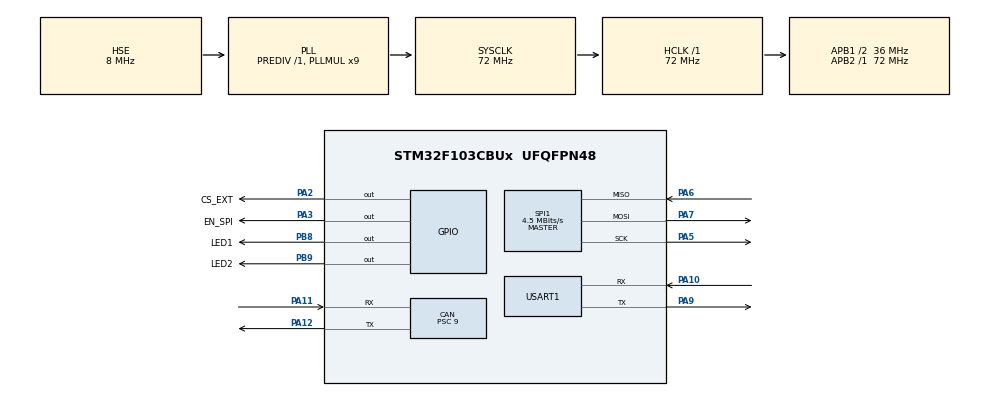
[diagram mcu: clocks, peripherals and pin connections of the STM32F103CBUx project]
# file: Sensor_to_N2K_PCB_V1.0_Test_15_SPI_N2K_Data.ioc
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CAN.BS1=CAN_BS1_12TQ
CAN.BS2=CAN_BS2_3TQ
CAN.CalculateBaudRate=250000
CAN.CalculateTimeBit=4000
CAN.CalculateTimeQuantum=250.0
CAN.Prescaler=9
Mcu.Family=STM32F1
Mcu.Name=STM32F103CBUx
Mcu.Package=UFQFPN48
NVIC.PriorityGroup=NVIC_PRIORITYGROUP_4
NVIC.USB_HP_CAN1_TX_IRQn=true\:0\:0\:false\:false\:true\:true\:true\:true
NVIC.USB_LP_CAN1_RX0_IRQn=true\:0\:0\:false\:false\:true\:true\:true\:true
PA10.Mode=Asynchronous
PA10.Signal=USART1_RX
PA11.Mode=CAN_Activate
PA11.Signal=CAN_RX
PA12.Mode=CAN_Activate
PA12.Signal=CAN_TX
PA13.Mode=Serial_Wire
PA13.Signal=SYS_JTMS-SWDIO
PA14.Mode=Serial_Wire
PA14.Signal=SYS_JTCK-SWCLK
PA2.GPIO_Label=CS_EXT
PA2.Signal=GPIO_Output
PA3.GPIO_Label=EN_SPI
PA3.Signal=GPIO_Output
PA5.Mode=Full_Duplex_Master
PA5.Signal=SPI1_SCK
PA6.Mode=Full_Duplex_Master
PA6.Signal=SPI1_MISO
PA7.Mode=Full_Duplex_Master
PA7.Signal=SPI1_MOSI
PA9.Mode=Asynchronous
PA9.Signal=USART1_TX
PB8.GPIO_Label=LED1
PB8.Signal=GPIO_Output
PB9.GPIO_Label=LED2
PB9.Signal=GPIO_Output
PD0-OSC_IN.Mode=HSE-External-Clock-Source
PD0-OSC_IN.Signal=RCC_OSC_IN
PD1-OSC_OUT.Mode=HSE-External-Clock-Source
PD1-OSC_OUT.Signal=RCC_OSC_OUT
ProjectManager.HeapSize=0x200
ProjectManager.StackSize=0x400
ProjectManager.TargetToolchain=CMake
RCC.AHBFreq_Value=72000000
RCC.APB1CLKDivider=RCC_HCLK_DIV2
RCC.APB1Freq_Value=36000000
RCC.APB1TimFreq_Value=72000000
RCC.APB2Freq_Value=72000000
RCC.APB2TimFreq_Value=72000000
RCC.HCLKFreq_Value=72000000
RCC.PLLMUL=RCC_PLL_MUL9
RCC.PLLSourceVirtual=RCC_PLLSOURCE_HSE
RCC.SYSCLKFreq_VALUE=72000000
RCC.SYSCLKSource=RCC_SYSCLKSOURCE_PLLCLK
RCC.USBFreq_Value=72000000
SPI1.BaudRatePrescaler=SPI_BAUDRATEPRESCALER_16
SPI1.CalculateBaudRate=4.5 MBits/s
SPI1.Direction=SPI_DIRECTION_2LINES
SPI1.Mode=SPI_MODE_MASTER
SPI1.VirtualType=VM_MASTER
USART1.VirtualMode=VM_ASYNC
board=custom

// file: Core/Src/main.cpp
/* USER CODE BEGIN Header */
/**
  ******************************************************************************
  * @file           : main.cpp
  * @brief          : Main program body
  ******************************************************************************
  * @attention
  *
  * Copyright (c) 2026 STMicroelectronics.
  * All rights reserved.
  *
  * This software is licensed under terms that can be found in the LICENSE file
  * in the root directory of this software component.
  * If no LICENSE file comes with this software, it is provided AS-IS.
  *
  ******************************************************************************
  */
/* USER CODE END Header */

#include "main.h"
#include "can.h"
#include "spi.h"
#include "usart.h"
#include "gpio.h"

/* USER CODE BEGIN Includes */
#include "n2k_raw_bridge.h"
#include "devicelist_handler.h"
#include <stdio.h>
#include <string.h>
/* USER CODE END Includes */

/* USER CODE BEGIN PD */

/* Power saving: silence the per-PGN identity trace (ADDR_CLAIM /
 * ISO_REQUEST) and the periodic [STATS] heartbeat printed every 5 s.
 * Boot banner + N2K/SPI init lines are kept so a USB-TTL probe still
 * confirms the bridge came up. Set to 0 to get the chatty traces back
 * for diagnostics.  USART1 transmits at 115200 baud — every printed
 * line wakes the MCU (via TX-empty IRQ) and burns a few mA-ms. */
#define BRIDGE_QUIET_DEBUG 1

/* Power saving: enter WFI at the bottom of the main loop. CAN RX, SPI,
 * USART and SysTick (1 kHz) all wake the MCU promptly so loop latency
 * is unchanged.  Disable only when chasing real-time bugs that need the
 * loop to spin freely. */
#define BRIDGE_USE_WFI 1

/* Power saving: keep both debug LEDs (LED1=PB8, LED2=PB9) dark.  On this
 * PCB the LEDs are wired active-HIGH (MCU pin -> 330R -> LED anode ->
 * GND), so PIN_RESET = OFF.  The bridge module (n2k_raw_bridge.c)
 * toggles LED1 on every CAN RX and LED2 on every SPI TX, so without
 * this guard they are essentially always lit on a live N2K bus.
 * Each LED draws ~10 mA continuous when on.  The macro is defined
 * in main.h so n2k_raw_bridge.c can see it too.  Set to 0 in main.h
 * to re-enable LED activity for diagnostics. */
#define BRIDGE_DISABLE_LEDS 1

/* USER CODE END PD */

void SystemClock_Config(void);

/* USER CODE BEGIN 0 */
static void bridge_uart_print(const char *msg) {
  HAL_UART_Transmit(&huart1, (uint8_t *)msg, (uint16_t)strlen(msg), 100u);
}

/* ── UART trace for identity PGNs only ─────────────────────────────────
 * Logs ISO Request (59904) and Address Claim (60928) lines.
 * Telemetry PGNs (WIND, POS, COG_SOG, TEMP, ...) are intentionally NOT
 * decoded here \u2014 the 5-second [STATS] heartbeat in the main loop
 * confirms bus health without flooding UART, and the Flutter app is
 * the canonical telemetry decoder.
 *
 * If you need on-target per-PGN debug for a new sensor, wrap a decoder
 * in a per-PGN rate-limiter (mirroring the s_prop_count pattern that
 * used to live here for PGN 126720) so it never floods at full sensor
 * rate. Don't reintroduce always-on decoders. */
static void bridge_log_n2k_rx_event(const N2K_RawBridgeRxEvent_t *event) {
#if BRIDGE_QUIET_DEBUG
  (void)event;
  return;
#else
  if ((event->pgn != 60928u) &&  /* AddressClaim */
      (event->pgn != 59904u)) {  /* ISO Request  */
    return;
  }

  char line[180];
  const uint8_t *d  = event->data;
  uint8_t        dlc = event->dlc;
  unsigned       src = (unsigned)event->src;
  unsigned       dst = (unsigned)event->dst;

  if (event->pgn == 60928u) {
    /* PGN 60928 \u2014 Address Claim (8 bytes = NMEA2000 NAME, little-endian). */
    if (dlc < 8u) {
      return;
    }
    uint64_t name64 = 0u;
    for (uint8_t i = 0u; i < 8u; i++) {
      name64 |= ((uint64_t)d[i]) << (8u * i);
    }
    uint16_t mfg = (uint16_t)((name64 >> 21u) & 0x7FFu);
    uint8_t  fn  = (uint8_t)((name64 >> 40u) & 0xFFu);
    uint8_t  cls = (uint8_t)(((name64 >> 48u) & 0xFFu) >> 1u);
    (void)snprintf(line, sizeof(line),
      "ADDR_CLAIM  src=%2u  mfg=%u  class=%u  fn=%u  "
      "name=%02X%02X%02X%02X%02X%02X%02X%02X\r\n",
      src, (unsigned)mfg, (unsigned)cls, (unsigned)fn,
      d[7], d[6], d[5], d[4], d[3], d[2], d[1], d[0]);
  } else {
    /* PGN 59904 \u2014 ISO Request: 3-byte requested-PGN payload. */
    uint32_t req_pgn = 0u;
    if (dlc >= 3u) {
      req_pgn = (uint32_t)d[0] | ((uint32_t)d[1] << 8u) | ((uint32_t)d[2] << 16u);
    }
    (void)snprintf(line, sizeof(line),
      "ISO_REQUEST src=%2u dst=%3u req_pgn=%lu\r\n",
      src, dst, (unsigned long)req_pgn);
  }

  bridge_uart_print(line);
#endif /* BRIDGE_QUIET_DEBUG */
}

/* USER CODE END 0 */

int main(void)
{

  /* MCU Configuration--------------------------------------------------------*/

  /* Reset of all peripherals, Initializes the Flash interface and the Systick. */
  HAL_Init();

  /* Configure the system clock */
  SystemClock_Config();

  /* Initialize all configured peripherals */
  MX_GPIO_Init();
  MX_CAN_Init();
  MX_SPI1_Init();
  MX_USART1_UART_Init();
  /* USER CODE BEGIN 2 */

#if BRIDGE_DISABLE_LEDS
  /* Belt-and-braces: the LEDs are active-HIGH on this board and gpio.c
   * already inits them LOW, but force them off here so any future code
   * that left them HIGH (e.g. via a bootloader handoff) is corrected
   * before main loop starts. */
  HAL_GPIO_WritePin(LED1_GPIO_Port, LED1_Pin, GPIO_PIN_RESET);
  HAL_GPIO_WritePin(LED2_GPIO_Port, LED2_Pin, GPIO_PIN_RESET);
#endif

  bridge_uart_print("N2K bridge boot\r\n");

  N2K_RawBridge_Init(&hcan, &hspi1);
  bridge_uart_print("N2K bridge init ok\r\n");
  DeviceListHandler_Init();
  bridge_uart_print("DeviceListHandler init ok\r\n");

  /* USER CODE END 2 */

  /* Infinite loop */
  while (1)
  {

    /* USER CODE BEGIN 3 */
    N2K_RawBridgeRxEvent_t event;
    N2K_RawBridgeAssembledEvent_t assembled;

    N2K_RawBridge_Process();

    DeviceListHandler_PollUart();
    DeviceListHandler_PollState();

    while (N2K_RawBridge_PopLogEvent(&event) != 0u) {
      bridge_log_n2k_rx_event(&event);
      DeviceListHandler_OnRxEvent(&event);
    }

    while (N2K_RawBridge_PopAssembledEvent(&assembled) != 0u) {
      DeviceListHandler_OnAssembledEvent(&assembled);
    }

    /* No idle delay here — any HAL_Delay() in the main loop starves the
     * CAN RX ring buffer (128 slots, 91 frames/s) during SPI bursts.
     * The inter-frame pacing inside N2K_RawBridge_Process is sufficient. */

    /* Periodic CAN/SPI stats heartbeat — printed every 5 s.
     * can_rx=0 after bus activity → MCU is not receiving CAN frames.
     * can_rx>0 but no PGN lines → rx-event path is broken. */
#if !BRIDGE_QUIET_DEBUG
    {
      static uint32_t s_last_stats_ms = 0u;
      uint32_t now_ms = HAL_GetTick();
      if ((now_ms - s_last_stats_ms) >= 5000u) {
        s_last_stats_ms = now_ms;
        N2K_RawBridgeStats_t   st  = N2K_RawBridge_GetStats();
        N2K_RawBridgePgnDebug_t dbg = N2K_RawBridge_GetPgnDebug();
        char line[200];
        (void)snprintf(line, sizeof(line),
          "[STATS] t=%lus can_rx=%lu ovf=%lu spi_tx=%lu spi_rx=%lu "
          "parse_errs=%lu last_pgn=%lu last_src=%u updates=%lu\r\n",
          (unsigned long)(now_ms / 1000u),
          (unsigned long)st.can_rx_frames,
          (unsigned long)st.can_rx_overflow,
          (unsigned long)st.spi_tx_frames,
          (unsigned long)st.spi_rx_packets,
          (unsigned long)st.spi_parse_errors,
          (unsigned long)dbg.last_can_rx_pgn,
          (unsigned)dbg.last_can_rx_src,
          (unsigned long)dbg.can_rx_pgn_updates);
        bridge_uart_print(line);
      }
    }
#endif /* !BRIDGE_QUIET_DEBUG */

#if BRIDGE_USE_WFI
    /* Sleep the core until the next interrupt (CAN RX, SPI, USART, or
     * SysTick at 1 kHz). All of these wake the MCU promptly so the loop
     * latency is unchanged, but during the (short) idle gaps between
     * CAN frames the core stops clocking — measurable ~3-6 mA saving on
     * an STM32F103 at 72 MHz. */
    __WFI();
#endif
  }
  /* USER CODE END 3 */
}

void SystemClock_Config(void)
{
  RCC_OscInitTypeDef RCC_OscInitStruct = {0};
  RCC_ClkInitTypeDef RCC_ClkInitStruct = {0};

  /** Initializes the RCC Oscillators according to the specified parameters
  * in the RCC_OscInitTypeDef structure.
  */
  RCC_OscInitStruct.OscillatorType = RCC_OSCILLATORTYPE_HSE;
  RCC_OscInitStruct.HSEState = RCC_HSE_BYPASS;
  RCC_OscInitStruct.HSEPredivValue = RCC_HSE_PREDIV_DIV1;
  /* Power saving: HSI is not needed once the PLL is locked off HSE.
   * Disabling it saves ~200 µA continuous on the 3.3 V rail. */
  RCC_OscInitStruct.HSIState = RCC_HSI_OFF;
  RCC_OscInitStruct.PLL.PLLState = RCC_PLL_ON;
  RCC_OscInitStruct.PLL.PLLSource = RCC_PLLSOURCE_HSE;
  RCC_OscInitStruct.PLL.PLLMUL = RCC_PLL_MUL9;
  if (HAL_RCC_OscConfig(&RCC_OscInitStruct) != HAL_OK)
  {
    Error_Handler();
  }

  /** Initializes the CPU, AHB and APB buses clocks
  */
  RCC_ClkInitStruct.ClockType = RCC_CLOCKTYPE_HCLK|RCC_CLOCKTYPE_SYSCLK
                              |RCC_CLOCKTYPE_PCLK1|RCC_CLOCKTYPE_PCLK2;
  RCC_ClkInitStruct.SYSCLKSource = RCC_SYSCLKSOURCE_PLLCLK;
  RCC_ClkInitStruct.AHBCLKDivider = RCC_SYSCLK_DIV1;
  RCC_ClkInitStruct.APB1CLKDivider = RCC_HCLK_DIV2;
  RCC_ClkInitStruct.APB2CLKDivider = RCC_HCLK_DIV1;

  if (HAL_RCC_ClockConfig(&RCC_ClkInitStruct, FLASH_LATENCY_2) != HAL_OK)
  {
    Error_Handler();
  }
}

extern "C" void Error_Handler(void)
{
  __disable_irq();
  while (1)
  {
  }
}
